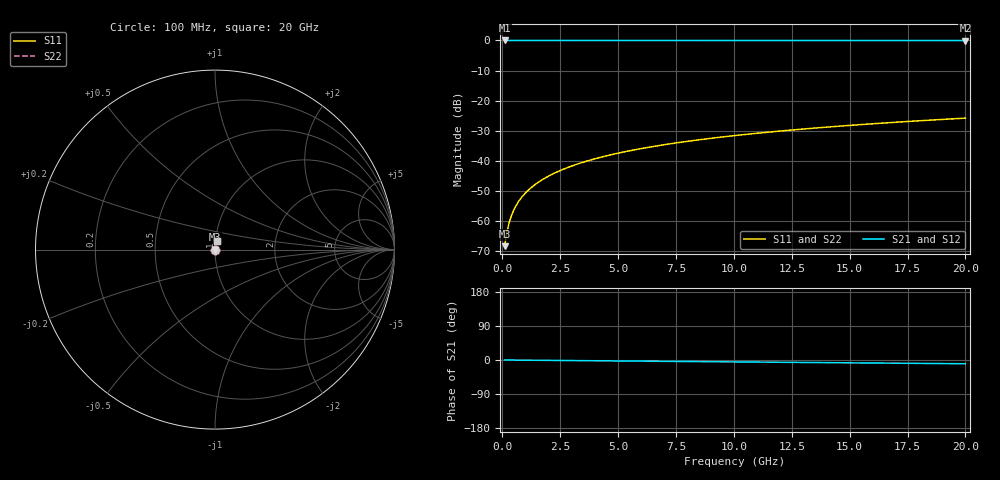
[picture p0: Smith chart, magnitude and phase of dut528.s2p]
! Touchstone file exported from HFSS 2026.1.0
!  File:  C:/ffzhzh/LocalFiles/Ansys_Project_Files/temp_train_TSV_528_1783023680_55676.aedt
!  Generated:  04:23:17 AM Jul  3, 2026
!  Design:  TSV
!  Project:  temp_train_TSV_528_1783023680_55676
! Variables:
!  h_bsmrdl = 2um
!  h_ox = 20um
!  h_rdl = 5um
!  h_sub = 95.29um
!  h_tmrdl = 5um
!  h_tsv = 95.29um
!  h_via = 3um
!  l_bsmrdl = 300um
!  l_sub = 415.14um
!  l_tmrdl = 200um
!  m_sub = 200um
!  pitch = 46.02um
!  r_tsv = 7.57um
!  s_tmrdl = 10um
!  w_bsmrdl = 18um
!  w_sub = 500um
!  w_tmrdl = 12um
!  x_tsv_center1 = 206um
!  x_tsv_center2 = 524um
!  x_tsv_center3 = 736um
!  x_tsv_center4 = 1054um
!  x_tsv_center5 = 1266um
!  x_tsv_center6 = 1584um
# GHz S MA R 50.000000
! Terminal data exported
! Port[1] = TSV1_1_T1
! Port[2] = TSV1_1_T2
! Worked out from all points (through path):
!   200 points, 100 MHz to 20 GHz, reference 50 ohm
!   highest |S21| = 0.00 dB at 100 MHz (marker M1); lowest = 0.0 dB at 20 GHz (marker M2)
!   group delay of S21, straight-line fit = 1.37 ps
!   lowest |S11| = -68.4 dB at 100 MHz (marker M3), VSWR 1.00, Z = 50 + j0.0306 ohm
!   |S11| at or under -10 dB: start of sweep to end of sweep
!   |S22| runs from -68.4 to -25.8 dB; largest |S21 - S12| = 2.1e-15
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0.1  0.0003802 53.6  0.9998 -0.1  0.9998 -0.1  0.0003802 53.6
! Gamma 0 0 0 0
! Port Impedance 50 0 50 0
0.2  0.0006545 68.7  0.9998 -0.1  0.9998 -0.1  0.0006545 68.7
0.3  0.0009452 74.3  0.9997 -0.2  0.9997 -0.2  0.0009452 74.3
0.4  0.001237 76.9  0.9997 -0.2  0.9997 -0.2  0.001237 76.9
0.5  0.001526 78.4  0.9997 -0.3  0.9997 -0.3  0.001526 78.4
0.6  0.00181 79.3  0.9997 -0.3  0.9997 -0.3  0.00181 79.3
0.7  0.00209 80.0  0.9996 -0.4  0.9996 -0.4  0.00209 80.0
0.8  0.002367 80.4  0.9996 -0.4  0.9996 -0.4  0.002367 80.4
1  0.002911 81.1  0.9996 -0.5  0.9996 -0.5  0.002911 81.1
1.4  0.003977 82.1  0.9995 -0.7  0.9995 -0.7  0.003977 82.1
1.7  0.004769 82.6  0.9994 -0.9  0.9994 -0.9  0.004769 82.6
2  0.005557 83.0  0.9994 -1.0  0.9994 -1.0  0.005557 83.0
2.7  0.007393 83.5  0.9993 -1.4  0.9993 -1.4  0.007393 83.5
3.5  0.009482 83.7  0.9992 -1.8  0.9992 -1.8  0.009482 83.7
4.2  0.0113 83.7  0.9991 -2.1  0.9991 -2.1  0.0113 83.7
5  0.01337 83.7  0.999 -2.5  0.999 -2.5  0.01337 83.7
6.8  0.01799 83.3  0.9988 -3.4  0.9988 -3.4  0.01799 83.2
8.3  0.02182 82.8  0.9986 -4.1  0.9986 -4.1  0.02182 82.8
10.1  0.02638 82.2  0.9984 -5.0  0.9984 -5.0  0.02638 82.2
13.4  0.03471 80.9  0.9979 -6.7  0.9979 -6.7  0.03471 80.9
16.7  0.04296 79.5  0.9974 -8.3  0.9974 -8.3  0.04296 79.5
20  0.05113 78.1  0.9969 -9.9  0.9969 -9.9  0.05113 78.1
